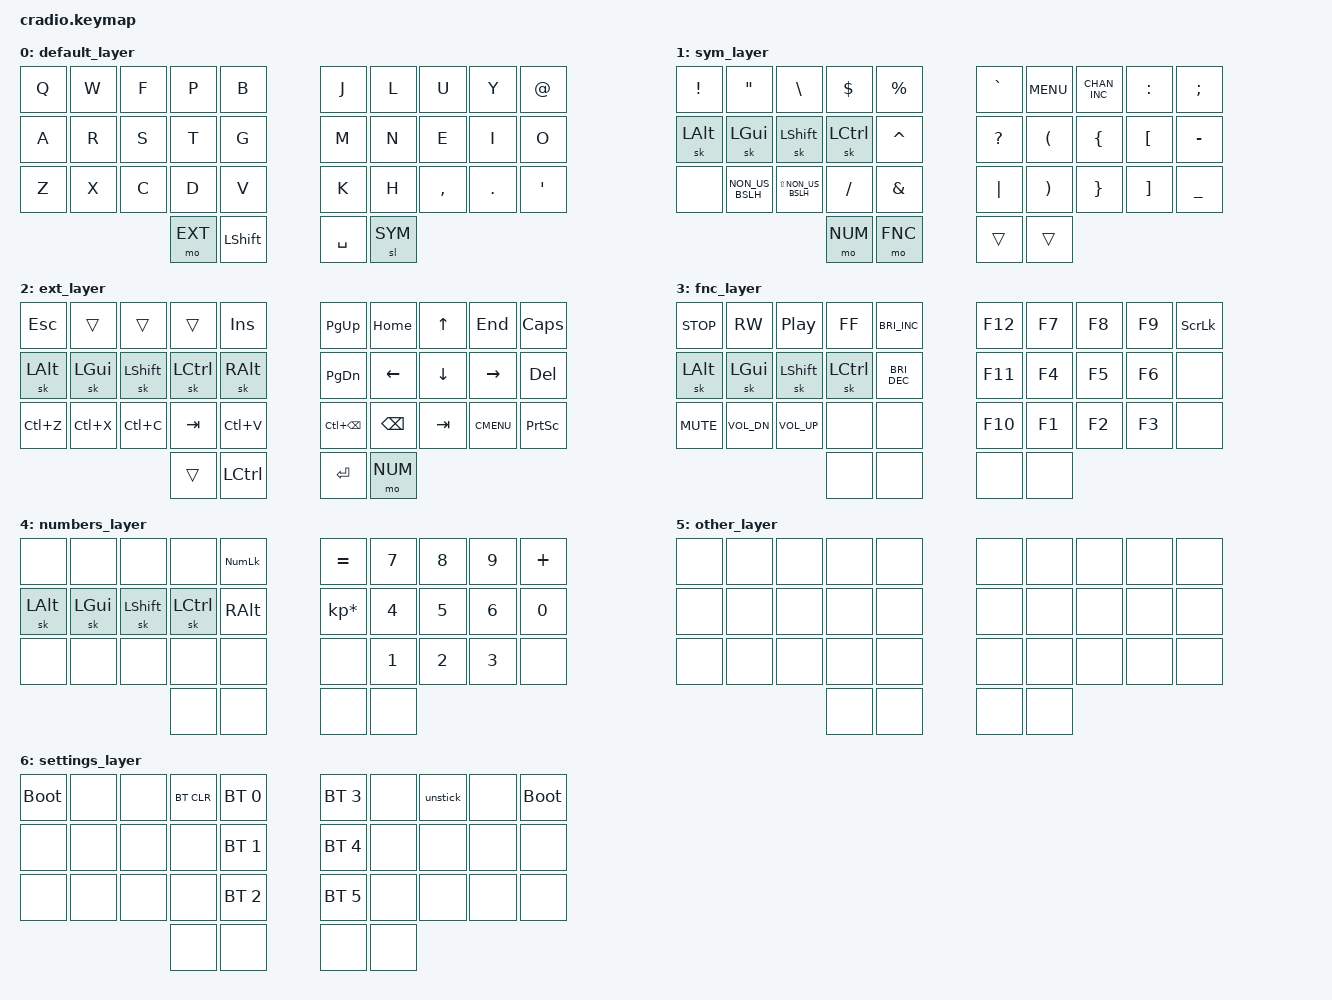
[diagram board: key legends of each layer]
/*
 * Copyright (c) 2020 The ZMK Contributors
 *
 * SPDX-License-Identifier: MIT
 */

#include <behaviors.dtsi>
#include <dt-bindings/zmk/keys.h>
#include <dt-bindings/zmk/bt.h>

#define EMACS_LEADER K_MENU

#define UK_PND LS(N3)            // £
#define EURO RA(E)               // €
#define UK_PLUS MINUS
#define UK_AT DOUBLE_QUOTES
#define UK_DQT AT_SIGN
#define UK_HASH BSLH
#define UK_TILDE PIPE
#define UK_BSLH NON_US_BSLH
#define UK_PIPE LS(NON_US_BSLH)

// Layer definitions
    #define BASE 0
    #define SYM 1
    #define EXT 2
    #define FNC 3
    #define NUM 4
    #define OTHER 5
    #define SETTINGS 6
// -----------------

&mt {
   //  flavor = "tap-preferred";
   // tapping_term_ms = <200>;
};

&sk {
    ignore-modifiers;
};

/ {
    macros {
           // sometimes my device thinks a modifier is being held down
           // pressing all modifiers fixes it.
           unstick: unstick {
               label = "ZM_unstick";
               compatible = "zmk,behavior-macro";
               #binding-cells = <0>;
               bindings = <&kp LSHIFT &kp RSHIFT &kp LCTRL &kp RCTRL &kp LALT &kp RALT &kp LGUI &kp RGUI>;
           };
    };
    combos {
        compatible = "zmk,combos";
	// both right thumb keys
        combo_other {
            timeout-ms = <50>;
            key-positions = <32 33>;
            bindings = <&mo OTHER>;
        };
	// internal-left & external-right thumb keys
        combo_num {
	    timeout-ms = <50>;
            key-positions = <31 33>;
	    bindings = <&mo FNC>;
	};
	// both left thumb keys
	combo_settings {
	    timeout-ms = <50>;
	    key-positions = <30 31>;
	    bindings = <&mo SETTINGS>;
	};
    };

    keymap {
            compatible = "zmk,keymap";

        // Base alpha layer
       		default_layer {
		bindings = <
		&kp Q &kp W &kp F &kp P &kp B         &kp J &kp L  &kp U     &kp Y   &kp UK_DQT
		&kp A &kp R &kp S &kp T &kp G         &kp M &kp N  &kp E     &kp I   &kp O
		&kp Z &kp X &kp C &kp D &kp V         &kp K &kp H  &kp COMMA &kp DOT &kp SQT
                                  &mo EXT &kp LSHIFT  &kp SPACE &sl SYM
		>;
		};

        // Symbol Layer
       		sym_layer {
		bindings = <
		&kp EXCL &kp UK_AT   &kp UK_HASH &kp DLLR    &kp PRCNT	 &kp GRAVE     &kp EMACS_LEADER &kp C_CHAN_INC &kp COLON &kp SEMI
                &sk LALT &sk LGUI    &sk LSHIFT  &sk LCTRL   &kp CARET   &kp QMARK     &kp LPAR         &kp LBRC       &kp LBKT  &kp MINUS
		&none    &kp UK_BSLH &kp UK_PIPE &kp FSLH    &kp AMPS 	 &kp UK_TILDE  &kp RPAR         &kp RBRC       &kp RBKT  &kp UNDER
				     &mo NUM     &mo FNC     &trans      &trans
		>;
		};

        // Ext layer
		ext_layer {
		bindings = <
		&kp ESC  &trans    &trans      &trans     &kp INS    	&kp PG_UP    &kp HOME &kp UP    &kp END     &kp CAPS
		&sk LALT &sk LGUI  &sk LSHIFT  &sk LCTRL  &sk RALT 	&kp PG_DN    &kp LEFT &kp DOWN  &kp RIGHT   &kp DEL
		&kp LC(Z)  &kp LC(X) &kp LC(C) &kp TAB    &kp LC(V)     &kp LC(BSPC) &kp BSPC &kp TAB   &kp K_CMENU &kp PSCRN
					       &trans     &kp LCTRL     &kp ENTER    &mo NUM 
		>;
		};

        // Function keys + modifiers
       		fnc_layer {
		bindings = <
		&kp C_STOP &kp C_RW     &kp C_PP     &kp C_FF     &kp C_BRI_INC      &kp F12 &kp F7 &kp F8 &kp F9 &kp SCROLLLOCK 
		&sk LALT   &sk LGUI     &sk LSHIFT   &sk LCTRL    &kp C_BRI_DEC      &kp F11 &kp F4 &kp F5 &kp F6 &none
		&kp C_MUTE &kp K_VOL_DN &kp K_VOL_UP &none   &none              &kp F10 &kp F1 &kp F2 &kp F3 &none
          				       &none        &none              &none  &none  
		>;
		};

        // Numbers
       		numbers_layer {
		bindings = <
		&none    &none    &none      &none     &kp KP_NUM       &kp EQUAL       &kp N7 &kp N8 &kp N9 &kp PLUS
                &sk LALT &sk LGUI &sk LSHIFT &sk LCTRL &kp RALT         &kp KP_ASTERISK &kp N4 &kp N5 &kp N6 &kp N0
		&none    &none    &none      &none     &none		&none           &kp N1 &kp N2 &kp N3 &none
          				     &none     &none        	&none           &none 
		>;
		};

        // Used for other stuff...
       		other_layer {
		bindings = <
		&none &none &none &none &none &none &none &none &none &none 
		&none &none &none &none &none &none &none &none &none &none
		&none &none &none &none &none &none &none &none &none &none
          				     &none &none                         &none &none 
		>;
		};

        // Used to change the keyboard's settings.
       		settings_layer {
		bindings = <
		&bootloader &none &none &bt BT_CLR &bt BT_SEL 0               &bt BT_SEL 3 &none &unstick &none &bootloader 
		&none &none &none &none      &bt BT_SEL 1 						  &bt BT_SEL 4 &none &none &none &none
		&none &none &none &none      &bt BT_SEL 2               &bt BT_SEL 5 &none &none &none &none
          				     &none &none                         &none &none 
		>;
		};
        
	};
};
